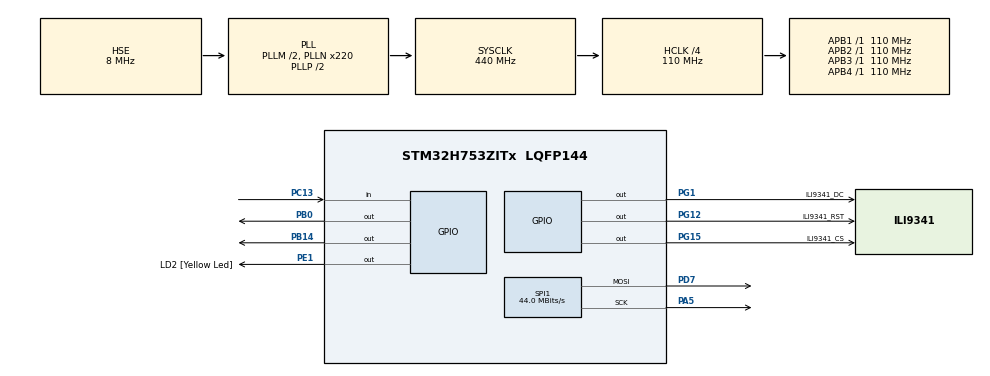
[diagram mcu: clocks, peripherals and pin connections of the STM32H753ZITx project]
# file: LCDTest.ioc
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CORTEX_M7.CPU_DCache=Disabled
CORTEX_M7.CPU_ICache=Disabled
CORTEX_M7.MPU_Control=__NULL
CORTEX_M7.default_mode_Activation=1
Dma.Request0=SPI1_TX
Dma.SPI1_TX.0.Direction=DMA_MEMORY_TO_PERIPH
Dma.SPI1_TX.0.EventEnable=DISABLE
Dma.SPI1_TX.0.FIFOMode=DMA_FIFOMODE_ENABLE
Dma.SPI1_TX.0.FIFOThreshold=DMA_FIFO_THRESHOLD_FULL
Dma.SPI1_TX.0.Instance=DMA1_Stream0
Dma.SPI1_TX.0.MemBurst=DMA_MBURST_SINGLE
Dma.SPI1_TX.0.MemDataAlignment=DMA_MDATAALIGN_BYTE
Dma.SPI1_TX.0.MemInc=DMA_MINC_ENABLE
Dma.SPI1_TX.0.Mode=DMA_NORMAL
Dma.SPI1_TX.0.PeriphBurst=DMA_PBURST_SINGLE
Dma.SPI1_TX.0.PeriphDataAlignment=DMA_PDATAALIGN_BYTE
Dma.SPI1_TX.0.PeriphInc=DMA_PINC_DISABLE
Dma.SPI1_TX.0.Polarity=HAL_DMAMUX_REQ_GEN_RISING
Dma.SPI1_TX.0.Priority=DMA_PRIORITY_MEDIUM
Dma.SPI1_TX.0.RequestNumber=1
Dma.SPI1_TX.0.SignalID=NONE
Dma.SPI1_TX.0.SyncEnable=DISABLE
Dma.SPI1_TX.0.SyncPolarity=HAL_DMAMUX_SYNC_NO_EVENT
Dma.SPI1_TX.0.SyncRequestNumber=1
Dma.SPI1_TX.0.SyncSignalID=NONE
FREERTOS.BinarySemaphores01=DmaTxComplete,Dynamic,NULL,Depleted
FREERTOS.Queues01=FreeFrameQueue,5,uint32_t,0,Dynamic,NULL,NULL;FrameTxQueue,5,uint32_t,0,Dynamic,NULL,NULL
FREERTOS.Tasks01=FrameWriteTask,24,256,StartFrameWriteTask,Default,NULL,Dynamic,NULL,NULL;FrameTxTask,32,256,StartFrameTxTask,Default,NULL,Dynamic,NULL,NULL
FREERTOS.configUSE_NEWLIB_REENTRANT=1
Mcu.Family=STM32H7
Mcu.Name=STM32H753ZITx
Mcu.Package=LQFP144
NUCLEO-H753ZI.BUTTON=1
NUCLEO-H753ZI.LD1=true
NUCLEO-H753ZI.LD2=true
NUCLEO-H753ZI.LD3=true
NUCLEO-H753ZI.VCP=true
NVIC.DMA1_Stream0_IRQn=true\:5\:0\:false\:false\:true\:true\:false\:true\:true
NVIC.EXTI15_10_IRQn=true\:5\:0\:false\:false\:true\:true\:false\:true\:true
NVIC.PriorityGroup=NVIC_PRIORITYGROUP_4
NVIC.SPI1_IRQn=true\:5\:0\:false\:false\:true\:true\:false\:true\:true
NVIC.TIM6_DAC_IRQn=true\:15\:0\:false\:false\:true\:false\:false\:true\:true
NVIC.TimeBase=TIM6_DAC_IRQn
NVIC.TimeBaseIP=TIM6
PA5.GPIO_PuPd=GPIO_NOPULL
PA5.GPIO_Speed=GPIO_SPEED_FREQ_VERY_HIGH
PA5.Mode=TX_Only_Simplex_Unidirect_Master
PA5.Signal=SPI1_SCK
PB0.Signal=GPIO_Output
PB14.Signal=GPIO_Output
PC13.Signal=GPIO_Input
PC14-OSC32_IN\ (OSC32_IN).Mode=LSE-External-Oscillator
PC14-OSC32_IN\ (OSC32_IN).Signal=RCC_OSC32_IN
PC15-OSC32_OUT\ (OSC32_OUT).Mode=LSE-External-Oscillator
PC15-OSC32_OUT\ (OSC32_OUT).Signal=RCC_OSC32_OUT
PD7.GPIO_Speed=GPIO_SPEED_FREQ_VERY_HIGH
PD7.Mode=TX_Only_Simplex_Unidirect_Master
PD7.Signal=SPI1_MOSI
PD8.Signal=USART3_TX
PD9.Signal=USART3_RX
PE1.GPIO_Label=LD2 [Yellow Led]
PE1.Signal=GPIO_Output
PG1.GPIO_Label=ILI9341_DC
PG1.GPIO_Speed=GPIO_SPEED_FREQ_VERY_HIGH
PG1.Signal=GPIO_Output
PG12.GPIO_Label=ILI9341_RST
PG12.GPIO_PuPd=GPIO_NOPULL
PG12.GPIO_Speed=GPIO_SPEED_FREQ_VERY_HIGH
PG12.PinState=GPIO_PIN_SET
PG12.Signal=GPIO_Output
PG15.GPIO_Label=ILI9341_CS
PG15.GPIO_PuPd=GPIO_NOPULL
PG15.GPIO_Speed=GPIO_SPEED_FREQ_VERY_HIGH
PG15.PinState=GPIO_PIN_SET
PG15.Signal=GPIO_Output
PH0-OSC_IN\ (PH0).Mode=HSE-External-Oscillator
PH0-OSC_IN\ (PH0).Signal=RCC_OSC_IN
PH1-OSC_OUT\ (PH1).Mode=HSE-External-Oscillator
PH1-OSC_OUT\ (PH1).Signal=RCC_OSC_OUT
ProjectManager.HeapSize=0x200
ProjectManager.StackSize=0x400
ProjectManager.TargetToolchain=STM32CubeIDE
RCC.ADCFreq_Value=16125000
RCC.APB1Freq_Value=110000000
RCC.APB2Freq_Value=110000000
RCC.APB3Freq_Value=110000000
RCC.APB4Freq_Value=110000000
RCC.CortexFreq_Value=440000000
RCC.DIVM1=2
RCC.DIVN1=220
RCC.DIVQ1=5
RCC.HCLKFreq_Value=110000000
RCC.HPRE=RCC_HCLK_DIV4
RCC.HSE_VALUE=8000000
RCC.PLLFRACN=0
RCC.PLLSourceVirtual=RCC_PLLSOURCE_HSE
RCC.PWR_Regulator_Voltage_Scale=PWR_REGULATOR_VOLTAGE_SCALE0
RCC.SYSCLKFreq_VALUE=440000000
RCC.SYSCLKSource=RCC_SYSCLKSOURCE_PLLCLK
RCC.USBFreq_Value=176000000
SPI1.BaudRatePrescaler=SPI_BAUDRATEPRESCALER_4
SPI1.CalculateBaudRate=44.0 MBits/s
SPI1.DataSize=SPI_DATASIZE_8BIT
SPI1.Direction=SPI_DIRECTION_2LINES_TXONLY
SPI1.Mode=SPI_MODE_MASTER
SPI1.VirtualType=VM_MASTER
VP_FREERTOS_VS_CMSIS_V2.Mode=CMSIS_V2
VP_MEMORYMAP_VS_MEMORYMAP.Mode=CurAppReg
VP_NUCLEO-H753ZI_VS_BSP_COMMON.Mode=COMMON
VP_SYS_VS_tim6.Mode=TIM6
board=NUCLEO-H753ZI

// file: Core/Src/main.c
/* USER CODE BEGIN Header */
/**
 ******************************************************************************
 * @file           : main.c
 * @brief          : Main program body
 ******************************************************************************
 * @attention
 *
 * Copyright (c) 2025 STMicroelectronics.
 * All rights reserved.
 *
 * This software is licensed under terms that can be found in the LICENSE file
 * in the root directory of this software component.
 * If no LICENSE file comes with this software, it is provided AS-IS.
 *
 ******************************************************************************
 */
/* USER CODE END Header */
#include "main.h"
#include "cmsis_os.h"

/* USER CODE BEGIN Includes */
#include <stdbool.h>
#include "ili9341_driver.h"
#include "ili9341_gfx.h"

//SPI_HandleTypeDef hspi1;

void SystemClock_Config(void);
static void MX_GPIO_Init(void);
static void MX_SPI1_Init(void);

// Simple test pattern

/* USER CODE END Includes */

/* USER CODE BEGIN PD */

ILI9341_GFX_FrameBuffer_t frameBuffer1;
ILI9341_GFX_FrameBuffer_t frameBuffer2;
ILI9341_GFX_FrameBuffer_t frameBuffer3;

ILI9341_GFX_FrameBuffer_t *buf1 = &frameBuffer1;
ILI9341_GFX_FrameBuffer_t *buf2 = &frameBuffer2;
ILI9341_GFX_FrameBuffer_t *buf3 = &frameBuffer2;

/* USER CODE END PD */

COM_InitTypeDef BspCOMInit;

SPI_HandleTypeDef hspi1;
DMA_HandleTypeDef hdma_spi1_tx;

/* Definitions for FrameWriteTask */
osThreadId_t FrameWriteTaskHandle;
const osThreadAttr_t FrameWriteTask_attributes = {
  .name = "FrameWriteTask",
  .stack_size = 256 * 4,
  .priority = (osPriority_t) osPriorityNormal,
};
/* Definitions for FrameTxTask */
osThreadId_t FrameTxTaskHandle;
const osThreadAttr_t FrameTxTask_attributes = {
  .name = "FrameTxTask",
  .stack_size = 256 * 4,
  .priority = (osPriority_t) osPriorityAboveNormal,
};
/* Definitions for FreeFrameQueue */
osMessageQueueId_t FreeFrameQueueHandle;
const osMessageQueueAttr_t FreeFrameQueue_attributes = {
  .name = "FreeFrameQueue"
};
/* Definitions for FrameTxQueue */
osMessageQueueId_t FrameTxQueueHandle;
const osMessageQueueAttr_t FrameTxQueue_attributes = {
  .name = "FrameTxQueue"
};
/* Definitions for DmaTxComplete */
osSemaphoreId_t DmaTxCompleteHandle;
const osSemaphoreAttr_t DmaTxComplete_attributes = {
  .name = "DmaTxComplete"
};

void SystemClock_Config(void);
static void MX_GPIO_Init(void);
static void MX_DMA_Init(void);
static void MX_SPI1_Init(void);
void StartFrameWriteTask(void *argument);
void StartFrameTxTask(void *argument);

int main(void)
{

  /* MCU Configuration--------------------------------------------------------*/

  /* Reset of all peripherals, Initializes the Flash interface and the Systick. */
  HAL_Init();

  /* Configure the system clock */
  SystemClock_Config();

  /* Initialize all configured peripherals */
  MX_GPIO_Init();
  MX_DMA_Init();
  MX_SPI1_Init();
  /* USER CODE BEGIN 2 */
	static ILI9341_GFX_FrameBuffer_t gfx_FrameBuffer;
	ILI9341_Result_t result;
	if ((result = ILI9341_Driver_Init()) != ILI9341_SYSTEM_OK)
		return result;
	if ((result = ILI9341_GFX_Init(&gfx_FrameBuffer)) != ILI9341_SYSTEM_OK)
		return result;
	ILI9341_GFX_Init(buf1);
	ILI9341_GFX_Init(buf2);
	ILI9341_GFX_Init(buf3);

	// Initialize display
	//basic screen Test
	ILI9341_Test(&gfx_FrameBuffer);
  /* USER CODE END 2 */

  /* Init scheduler */
  osKernelInitialize();

  /* Create the semaphores(s) */
  /* creation of DmaTxComplete */
  DmaTxCompleteHandle = osSemaphoreNew(1, 0, &DmaTxComplete_attributes);

  /* Create the queue(s) */
  /* creation of FreeFrameQueue */
  FreeFrameQueueHandle = osMessageQueueNew (5, sizeof(uint32_t), &FreeFrameQueue_attributes);

  /* creation of FrameTxQueue */
  FrameTxQueueHandle = osMessageQueueNew (5, sizeof(uint32_t), &FrameTxQueue_attributes);

  /* USER CODE BEGIN RTOS_QUEUES */
  osMessageQueuePut(FreeFrameQueueHandle, &buf1, 0, 0);
  osMessageQueuePut(FreeFrameQueueHandle, &buf2, 0, 0);
  osMessageQueuePut(FreeFrameQueueHandle, &buf3, 0, 0);

  /* USER CODE END RTOS_QUEUES */

  /* Create the thread(s) */
  /* creation of FrameWriteTask */
  FrameWriteTaskHandle = osThreadNew(StartFrameWriteTask, NULL, &FrameWriteTask_attributes);

  /* creation of FrameTxTask */
  FrameTxTaskHandle = osThreadNew(StartFrameTxTask, NULL, &FrameTxTask_attributes);

  /* Initialize leds */
  BSP_LED_Init(LED_GREEN);
  BSP_LED_Init(LED_BLUE);
  BSP_LED_Init(LED_RED);

  /* Initialize USER push-button, will be used to trigger an interrupt each time it's pressed.*/
  BSP_PB_Init(BUTTON_USER, BUTTON_MODE_EXTI);

  /* Initialize COM1 port (115200, 8 bits (7-bit data + 1 stop bit), no parity */
  BspCOMInit.BaudRate   = 115200;
  BspCOMInit.WordLength = COM_WORDLENGTH_8B;
  BspCOMInit.StopBits   = COM_STOPBITS_1;
  BspCOMInit.Parity     = COM_PARITY_NONE;
  BspCOMInit.HwFlowCtl  = COM_HWCONTROL_NONE;
  if (BSP_COM_Init(COM1, &BspCOMInit) != BSP_ERROR_NONE)
  {
    Error_Handler();
  }

  /* Start scheduler */
  osKernelStart();

  /* We should never get here as control is now taken by the scheduler */

  /* Infinite loop */
	while (1) {

	}
}

void SystemClock_Config(void)
{
  RCC_OscInitTypeDef RCC_OscInitStruct = {0};
  RCC_ClkInitTypeDef RCC_ClkInitStruct = {0};

  /** Supply configuration update enable
  */
  HAL_PWREx_ConfigSupply(PWR_LDO_SUPPLY);

  /** Configure the main internal regulator output voltage
  */
  __HAL_PWR_VOLTAGESCALING_CONFIG(PWR_REGULATOR_VOLTAGE_SCALE0);

  while(!__HAL_PWR_GET_FLAG(PWR_FLAG_VOSRDY)) {}

  /** Initializes the RCC Oscillators according to the specified parameters
  * in the RCC_OscInitTypeDef structure.
  */
  RCC_OscInitStruct.OscillatorType = RCC_OSCILLATORTYPE_HSE;
  RCC_OscInitStruct.HSEState = RCC_HSE_ON;
  RCC_OscInitStruct.PLL.PLLState = RCC_PLL_ON;
  RCC_OscInitStruct.PLL.PLLSource = RCC_PLLSOURCE_HSE;
  RCC_OscInitStruct.PLL.PLLM = 2;
  RCC_OscInitStruct.PLL.PLLN = 220;
  RCC_OscInitStruct.PLL.PLLP = 2;
  RCC_OscInitStruct.PLL.PLLQ = 5;
  RCC_OscInitStruct.PLL.PLLR = 2;
  RCC_OscInitStruct.PLL.PLLRGE = RCC_PLL1VCIRANGE_2;
  RCC_OscInitStruct.PLL.PLLVCOSEL = RCC_PLL1VCOWIDE;
  RCC_OscInitStruct.PLL.PLLFRACN = 0;
  if (HAL_RCC_OscConfig(&RCC_OscInitStruct) != HAL_OK)
  {
    Error_Handler();
  }

  /** Initializes the CPU, AHB and APB buses clocks
  */
  RCC_ClkInitStruct.ClockType = RCC_CLOCKTYPE_HCLK|RCC_CLOCKTYPE_SYSCLK
                              |RCC_CLOCKTYPE_PCLK1|RCC_CLOCKTYPE_PCLK2
                              |RCC_CLOCKTYPE_D3PCLK1|RCC_CLOCKTYPE_D1PCLK1;
  RCC_ClkInitStruct.SYSCLKSource = RCC_SYSCLKSOURCE_PLLCLK;
  RCC_ClkInitStruct.SYSCLKDivider = RCC_SYSCLK_DIV1;
  RCC_ClkInitStruct.AHBCLKDivider = RCC_HCLK_DIV4;
  RCC_ClkInitStruct.APB3CLKDivider = RCC_APB3_DIV1;
  RCC_ClkInitStruct.APB1CLKDivider = RCC_APB1_DIV1;
  RCC_ClkInitStruct.APB2CLKDivider = RCC_APB2_DIV1;
  RCC_ClkInitStruct.APB4CLKDivider = RCC_APB4_DIV1;

  if (HAL_RCC_ClockConfig(&RCC_ClkInitStruct, FLASH_LATENCY_1) != HAL_OK)
  {
    Error_Handler();
  }
}

static void MX_SPI1_Init(void)
{

  /* SPI1 parameter configuration*/
  hspi1.Instance = SPI1;
  hspi1.Init.Mode = SPI_MODE_MASTER;
  hspi1.Init.Direction = SPI_DIRECTION_2LINES_TXONLY;
  hspi1.Init.DataSize = SPI_DATASIZE_8BIT;
  hspi1.Init.CLKPolarity = SPI_POLARITY_LOW;
  hspi1.Init.CLKPhase = SPI_PHASE_1EDGE;
  hspi1.Init.NSS = SPI_NSS_SOFT;
  hspi1.Init.BaudRatePrescaler = SPI_BAUDRATEPRESCALER_4;
  hspi1.Init.FirstBit = SPI_FIRSTBIT_MSB;
  hspi1.Init.TIMode = SPI_TIMODE_DISABLE;
  hspi1.Init.CRCCalculation = SPI_CRCCALCULATION_DISABLE;
  hspi1.Init.CRCPolynomial = 0x0;
  hspi1.Init.NSSPMode = SPI_NSS_PULSE_ENABLE;
  hspi1.Init.NSSPolarity = SPI_NSS_POLARITY_LOW;
  hspi1.Init.FifoThreshold = SPI_FIFO_THRESHOLD_01DATA;
  hspi1.Init.TxCRCInitializationPattern = SPI_CRC_INITIALIZATION_ALL_ZERO_PATTERN;
  hspi1.Init.RxCRCInitializationPattern = SPI_CRC_INITIALIZATION_ALL_ZERO_PATTERN;
  hspi1.Init.MasterSSIdleness = SPI_MASTER_SS_IDLENESS_00CYCLE;
  hspi1.Init.MasterInterDataIdleness = SPI_MASTER_INTERDATA_IDLENESS_00CYCLE;
  hspi1.Init.MasterReceiverAutoSusp = SPI_MASTER_RX_AUTOSUSP_DISABLE;
  hspi1.Init.MasterKeepIOState = SPI_MASTER_KEEP_IO_STATE_DISABLE;
  hspi1.Init.IOSwap = SPI_IO_SWAP_DISABLE;
  if (HAL_SPI_Init(&hspi1) != HAL_OK)
  {
    Error_Handler();
  }
  /* USER CODE BEGIN SPI1_Init 2 */
	__HAL_SPI_ENABLE(&hspi1);
  /* USER CODE END SPI1_Init 2 */

}

static void MX_DMA_Init(void)
{

  /* DMA controller clock enable */
  __HAL_RCC_DMA1_CLK_ENABLE();

  /* DMA interrupt init */
  /* DMA1_Stream0_IRQn interrupt configuration */
  HAL_NVIC_SetPriority(DMA1_Stream0_IRQn, 5, 0);
  HAL_NVIC_EnableIRQ(DMA1_Stream0_IRQn);

}

static void MX_GPIO_Init(void)
{
  GPIO_InitTypeDef GPIO_InitStruct = {0};

  /* GPIO Ports Clock Enable */
  __HAL_RCC_GPIOC_CLK_ENABLE();
  __HAL_RCC_GPIOH_CLK_ENABLE();
  __HAL_RCC_GPIOA_CLK_ENABLE();
  __HAL_RCC_GPIOG_CLK_ENABLE();
  __HAL_RCC_GPIOD_CLK_ENABLE();
  __HAL_RCC_GPIOE_CLK_ENABLE();

  /*Configure GPIO pin Output Level */
  HAL_GPIO_WritePin(ILI9341_DC_GPIO_Port, ILI9341_DC_Pin, GPIO_PIN_RESET);

  /*Configure GPIO pin Output Level */
  HAL_GPIO_WritePin(GPIOG, ILI9341_RST_Pin|ILI9341_CS_Pin, GPIO_PIN_SET);

  /*Configure GPIO pin Output Level */
  HAL_GPIO_WritePin(LD2_GPIO_Port, LD2_Pin, GPIO_PIN_RESET);

  /*Configure GPIO pins : ILI9341_DC_Pin ILI9341_RST_Pin ILI9341_CS_Pin */
  GPIO_InitStruct.Pin = ILI9341_DC_Pin|ILI9341_RST_Pin|ILI9341_CS_Pin;
  GPIO_InitStruct.Mode = GPIO_MODE_OUTPUT_PP;
  GPIO_InitStruct.Pull = GPIO_NOPULL;
  GPIO_InitStruct.Speed = GPIO_SPEED_FREQ_VERY_HIGH;
  HAL_GPIO_Init(GPIOG, &GPIO_InitStruct);

  /*Configure GPIO pin : LD2_Pin */
  GPIO_InitStruct.Pin = LD2_Pin;
  GPIO_InitStruct.Mode = GPIO_MODE_OUTPUT_PP;
  GPIO_InitStruct.Pull = GPIO_NOPULL;
  GPIO_InitStruct.Speed = GPIO_SPEED_FREQ_LOW;
  HAL_GPIO_Init(LD2_GPIO_Port, &GPIO_InitStruct);

}

void StartFrameWriteTask(void *argument)
{
  /* USER CODE BEGIN 5 */
  /* Infinite loop */

	static color = 0;
	static uint16_t rowCounter;
	uint16_t colors[]  = {COLOR_RED, COLOR_BLUE, COLOR_WHITE,COLOR_GREEN};
  for(;;)
  {
	  uint16_t chosenColor = colors[color%4];
	  ILI9341_GFX_FrameBuffer_t *fb;
	  osMessageQueueGet(FreeFrameQueueHandle, &fb, NULL, osWaitForever);
	  ILI9341_WriteStripe(fb, rowCounter);
	  osMessageQueuePut(FrameTxQueueHandle, &fb, 0, osWaitForever);
	  rowCounter++;
	  osDelay(2);
  }
  /* USER CODE END 5 */
}

void StartFrameTxTask(void *argument)
{
  /* USER CODE BEGIN StartFrameTxTask */
  /* Infinite loop */
  for(;;)
  {
	  ILI9341_GFX_FrameBuffer_t *fb;
	  osMessageQueueGet(FrameTxQueueHandle, &fb, NULL, osWaitForever);
	  ILI9341_Transmit_Frame1(fb->data);
	  osMessageQueuePut(FreeFrameQueueHandle, &fb, 0, osWaitForever);
    osDelay(2);
  }
  /* USER CODE END StartFrameTxTask */
}

void HAL_TIM_PeriodElapsedCallback(TIM_HandleTypeDef *htim)
{
  if (htim->Instance == TIM6)
  {
    HAL_IncTick();
  }
}

void Error_Handler(void)
{
	__disable_irq();
	while (1) {
	}
}
